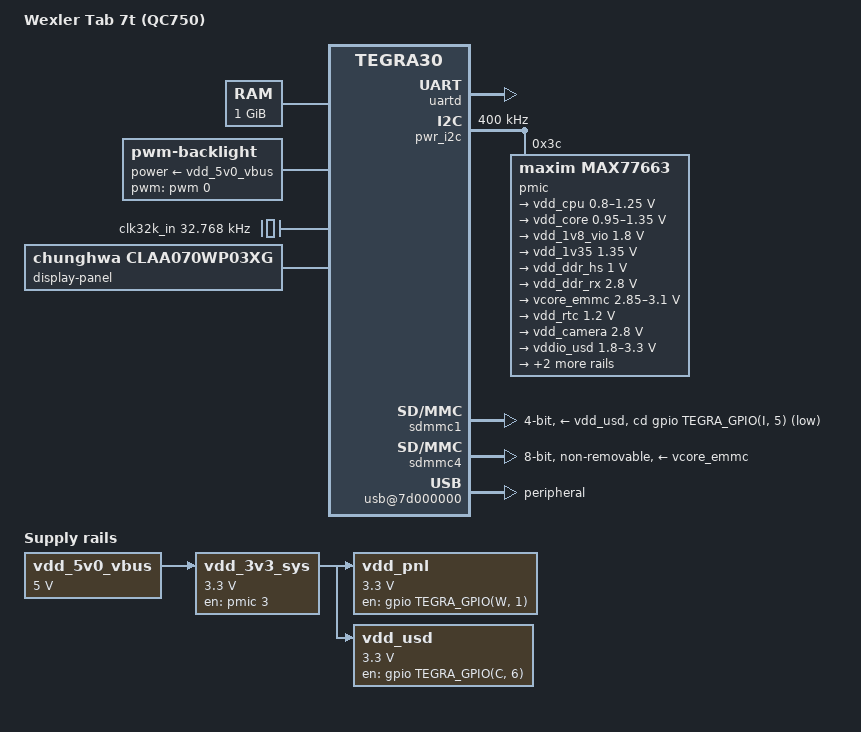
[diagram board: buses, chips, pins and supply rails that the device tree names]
// SPDX-License-Identifier: GPL-2.0
/dts-v1/;

#include <dt-bindings/input/gpio-keys.h>
#include <dt-bindings/input/input.h>
#include <dt-bindings/mfd/max77620.h>
#include <dt-bindings/thermal/thermal.h>

#include "tegra30.dtsi"
#include "tegra30-cpu-opp.dtsi"
#include "tegra30-cpu-opp-microvolt.dtsi"
#include "tegra30-asus-lvds-display.dtsi"

/ {
	model = "Wexler Tab 7t (QC750)";
	compatible = "wexler,qc750", "nvidia,tegra30";
	chassis-type = "tablet";

	aliases {
		mmc0 = &sdmmc4; /* eMMC */
		mmc1 = &sdmmc1; /* uSD slot */

		rtc0 = &pmic;
		rtc1 = "/rtc@7000e000";

		serial0 = &uartd; /* Console */
	};

	/*
	 * The decompressor and also some bootloaders rely on a
	 * pre-existing /chosen node to be available to insert the
	 * command line and merge other ATAGS info.
	 */
	chosen {
		stdout-path = "serial0:115200n8";
	};

	firmware {
		trusted-foundations {
			compatible = "tlm,trusted-foundations";
			tlm,version-major = <2>;
			tlm,version-minor = <8>;
		};
	};

	memory@80000000 {
		reg = <0x80000000 0x40000000>;
	};

	reserved-memory {
		#address-cells = <1>;
		#size-cells = <1>;
		ranges;

		linux,cma@80000000 {
			compatible = "shared-dma-pool";
			alloc-ranges = <0x80000000 0x30000000>;
			size = <0x10000000>;		/* 256MiB */
			linux,cma-default;
			reusable;
		};

		ramoops@bed00000 {
			compatible = "ramoops";
			reg = <0xbed00000 0x10000>;	/* 64kB */
			console-size = <0x8000>;	/* 32kB */
			record-size = <0x400>;		/* 1kB */
			ecc-size = <16>;
		};

		trustzone@bfe00000 {
			reg = <0xbfe00000 0x200000>;	/* 2MB */
			no-map;
		};
	};

	vde@6001a000 {
		assigned-clocks = <&tegra_car TEGRA30_CLK_VDE>;
		assigned-clock-parents = <&tegra_car TEGRA30_CLK_PLL_P>;
		assigned-clock-rates = <408000000>;
	};

	uartd: serial@70006300 {
		status = "okay";

		/* Console */
	};

	pwr_i2c: i2c@7000d000 {
		status = "okay";
		clock-frequency = <400000>;

		pmic: max77663@3c {
			compatible = "maxim,max77663";
			reg = <0x3c>;

			interrupts = <GIC_SPI 86 IRQ_TYPE_LEVEL_HIGH>;
			#interrupt-cells = <2>;
			interrupt-controller;

			#gpio-cells = <2>;
			gpio-controller;

			system-power-controller;
			maxim,rtc-i2c-address = <0x48>;

			pinctrl-names = "default";
			pinctrl-0 = <&max77663_default>;

			cpu-pwr-req-hog {
				gpio-hog;
				gpios = <6 GPIO_ACTIVE_HIGH>;
				input;
			};

			fps {
				fps0 {
					maxim,fps-event-source = <MAX77620_FPS_EVENT_SRC_EN0>;
				};

				fps1 {
					maxim,fps-event-source = <MAX77620_FPS_EVENT_SRC_EN1>;
				};

				fps2 {
					maxim,fps-event-source = <MAX77620_FPS_EVENT_SRC_EN0>;
				};
			};

			max77663_default: pinmux {
				gpio4 {
					pins = "gpio4";
					function = "32k-out1";
				};
			};

			regulators {
				in-sd0-supply = <&vdd_5v0_vbus>;
				in-sd1-supply = <&vdd_5v0_vbus>;
				in-sd2-supply = <&vdd_5v0_vbus>;
				in-sd3-supply = <&vdd_5v0_vbus>;

				in-ldo0-1-supply = <&vdd_1v35>;
				in-ldo2-supply   = <&vdd_3v3_sys>;
				in-ldo3-5-supply = <&vdd_3v3_sys>;
				in-ldo4-6-supply = <&vdd_3v3_sys>;
				in-ldo7-8-supply = <&vdd_1v35>;

				vdd_cpu: sd0 {
					regulator-name = "vdd_cpu";
					regulator-min-microvolt = <800000>;
					regulator-max-microvolt = <1250000>;
					regulator-coupled-with = <&vdd_core>;
					regulator-coupled-max-spread = <300000>;
					regulator-max-step-microvolt = <100000>;
					regulator-always-on;
					regulator-boot-on;

					nvidia,tegra-cpu-regulator;
					maxim,active-fps-source = <MAX77620_FPS_SRC_NONE>;
				};

				vdd_core: sd1 {
					regulator-name = "vdd_core";
					regulator-min-microvolt = <950000>;
					regulator-max-microvolt = <1350000>;
					regulator-coupled-with = <&vdd_cpu>;
					regulator-coupled-max-spread = <300000>;
					regulator-max-step-microvolt = <100000>;
					regulator-always-on;
					regulator-boot-on;

					nvidia,tegra-core-regulator;
					maxim,active-fps-source = <MAX77620_FPS_SRC_1>;
				};

				vdd_1v8_vio: sd2 {
					regulator-name = "vdd_1v8_gen";
					regulator-min-microvolt = <1800000>;
					regulator-max-microvolt = <1800000>;
					regulator-always-on;
					regulator-boot-on;

					maxim,active-fps-source = <MAX77620_FPS_SRC_0>;
				};

				vdd_1v35: sd3 {
					regulator-name = "vdd_ddr3l_1v35";
					regulator-min-microvolt = <1350000>;
					regulator-max-microvolt = <1350000>;
					regulator-always-on;
					regulator-boot-on;

					maxim,active-fps-source = <MAX77620_FPS_SRC_NONE>;
				};

				ldo0 {
					regulator-name = "vdd_ddr_hs";
					regulator-min-microvolt = <1000000>;
					regulator-max-microvolt = <1000000>;
					regulator-always-on;
					regulator-boot-on;

					maxim,active-fps-source = <MAX77620_FPS_SRC_1>;
				};

				ldo2 {
					regulator-name = "vdd_ddr_rx";
					regulator-min-microvolt = <2800000>;
					regulator-max-microvolt = <2800000>;
					regulator-always-on;
					regulator-boot-on;

					maxim,active-fps-source = <MAX77620_FPS_SRC_1>;
				};

				vcore_emmc: ldo3 {
					regulator-name = "vcore_emmc";
					regulator-min-microvolt = <2850000>;
					regulator-max-microvolt = <3100000>;
					regulator-boot-on;

					maxim,active-fps-source = <MAX77620_FPS_SRC_1>;
				};

				ldo4 {
					regulator-name = "vdd_rtc";
					regulator-min-microvolt = <1200000>;
					regulator-max-microvolt = <1200000>;
					regulator-always-on;
					regulator-boot-on;

					maxim,active-fps-source = <MAX77620_FPS_SRC_0>;
				};

				ldo5 {
					regulator-name = "vdd_camera";
					regulator-min-microvolt = <2800000>;
					regulator-max-microvolt = <2800000>;

					maxim,active-fps-source = <MAX77620_FPS_SRC_NONE>;
				};

				vddio_usd: ldo6 {
					regulator-name = "vddio_sdmmc";
					regulator-min-microvolt = <1800000>;
					regulator-max-microvolt = <3300000>;
					regulator-boot-on;

					maxim,active-fps-source = <MAX77620_FPS_SRC_NONE>;
				};

				ldo7 {
					regulator-name = "avdd_dsi_csi";
					regulator-min-microvolt = <1200000>;
					regulator-max-microvolt = <1200000>;

					maxim,active-fps-source = <MAX77620_FPS_SRC_NONE>;
				};

				ldo8 {
					regulator-name = "avdd_pll";
					regulator-min-microvolt = <1200000>;
					regulator-max-microvolt = <1200000>;
					regulator-always-on;
					regulator-boot-on;

					maxim,active-fps-source = <MAX77620_FPS_SRC_1>;
				};
			};
		};
	};

	pmc@7000e400 {
		status = "okay";
		nvidia,invert-interrupt;
		nvidia,suspend-mode = <2>;
		nvidia,cpu-pwr-good-time = <2000>;
		nvidia,cpu-pwr-off-time = <200>;
		nvidia,core-pwr-good-time = <3845 3845>;
		nvidia,core-pwr-off-time = <0>;
		nvidia,core-power-req-active-high;
		nvidia,sys-clock-req-active-high;
		core-supply = <&vdd_core>;

		i2c-thermtrip {
			nvidia,i2c-controller-id = <4>;
			nvidia,bus-addr = <0x3c>;
			nvidia,reg-addr = <0x41>;
			nvidia,reg-data = <0x02>;
		};
	};

	sdmmc1: mmc@78000000 {
		status = "okay";

		cd-gpios = <&gpio TEGRA_GPIO(I, 5) GPIO_ACTIVE_LOW>;
		bus-width = <4>;

		vmmc-supply = <&vdd_usd>;
		vqmmc-supply = <&vddio_usd>;
	};

	sdmmc4: mmc@78000600 {
		status = "okay";
		bus-width = <8>;

		non-removable;
		mmc-ddr-1_8v;

		vmmc-supply = <&vcore_emmc>;
		vqmmc-supply = <&vdd_1v8_vio>;
	};

	/* Micro USB */
	usb@7d000000 {
		compatible = "nvidia,tegra30-udc";
		status = "okay";
		dr_mode = "peripheral";
	};

	usb-phy@7d000000 {
		status = "okay";
		dr_mode = "peripheral";
		nvidia,hssync-start-delay = <0>;
		nvidia,xcvr-lsfslew = <2>;
		nvidia,xcvr-lsrslew = <2>;
	};

	backlight: backlight {
		compatible = "pwm-backlight";

		power-supply = <&vdd_5v0_vbus>;
		pwms = <&pwm 0 50000>;

		brightness-levels = <1 255>;
		num-interpolated-steps = <254>;
		default-brightness-level = <15>;
	};

	/* PMIC has a built-in 32KHz oscillator which is used by PMC */
	clk32k_in: clock-32k {
		compatible = "fixed-clock";
		#clock-cells = <0>;
		clock-frequency = <32768>;
		clock-output-names = "pmic-oscillator";
	};

	display-panel {
		compatible = "chunghwa,claa070wp03xg", "simple-panel";

		/* DDC unconnected on Nexus 7 */
		/delete-property/ ddc-i2c-bus;

		panel-timing {
			clock-frequency = <66770000>;
			hsync-len = <64>;
			vsync-len = <1>;
			hback-porch = <128>;
			vback-porch = <2>;
			hactive = <800>;
			vactive = <1280>;
			hfront-porch = <64>;
			vfront-porch = <5>;
		};
	};

	cpus {
		cpu0: cpu@0 {
			cpu-supply = <&vdd_cpu>;
			operating-points-v2 = <&cpu0_opp_table>;
			#cooling-cells = <2>;
		};
		cpu1: cpu@1 {
			cpu-supply = <&vdd_cpu>;
			operating-points-v2 = <&cpu0_opp_table>;
			#cooling-cells = <2>;
		};
		cpu2: cpu@2 {
			cpu-supply = <&vdd_cpu>;
			operating-points-v2 = <&cpu0_opp_table>;
			#cooling-cells = <2>;
		};
		cpu3: cpu@3 {
			cpu-supply = <&vdd_cpu>;
			operating-points-v2 = <&cpu0_opp_table>;
			#cooling-cells = <2>;
		};
	};

	vdd_5v0_vbus: regulator-vbus {
		compatible = "regulator-fixed";
		regulator-name = "vdd_vbus";
		regulator-min-microvolt = <5000000>;
		regulator-max-microvolt = <5000000>;
		regulator-always-on;
		regulator-boot-on;
	};

	vdd_3v3_sys: regulator-3v3 {
		compatible = "regulator-fixed";
		regulator-name = "vdd_3v3";
		regulator-min-microvolt = <3300000>;
		regulator-max-microvolt = <3300000>;
		regulator-always-on;
		regulator-boot-on;
		gpio = <&pmic 3 GPIO_ACTIVE_HIGH>;
		enable-active-high;
		vin-supply = <&vdd_5v0_vbus>;
	};

	vdd_pnl: regulator-panel {
		compatible = "regulator-fixed";
		regulator-name = "vdd_panel";
		regulator-min-microvolt = <3300000>;
		regulator-max-microvolt = <3300000>;
		regulator-enable-ramp-delay = <300000>;
		gpio = <&gpio TEGRA_GPIO(W, 1) GPIO_ACTIVE_HIGH>;
		enable-active-high;
		vin-supply = <&vdd_3v3_sys>;
	};

	vdd_usd: regulator-emmc {
		compatible = "regulator-fixed";
		regulator-name = "vdd_3v3_sdmmc1";
		regulator-min-microvolt = <3300000>;
		regulator-max-microvolt = <3300000>;
		regulator-boot-on;
		gpio = <&gpio TEGRA_GPIO(C, 6) GPIO_ACTIVE_HIGH>;
		enable-active-high;
		vin-supply = <&vdd_3v3_sys>;
	};
};
